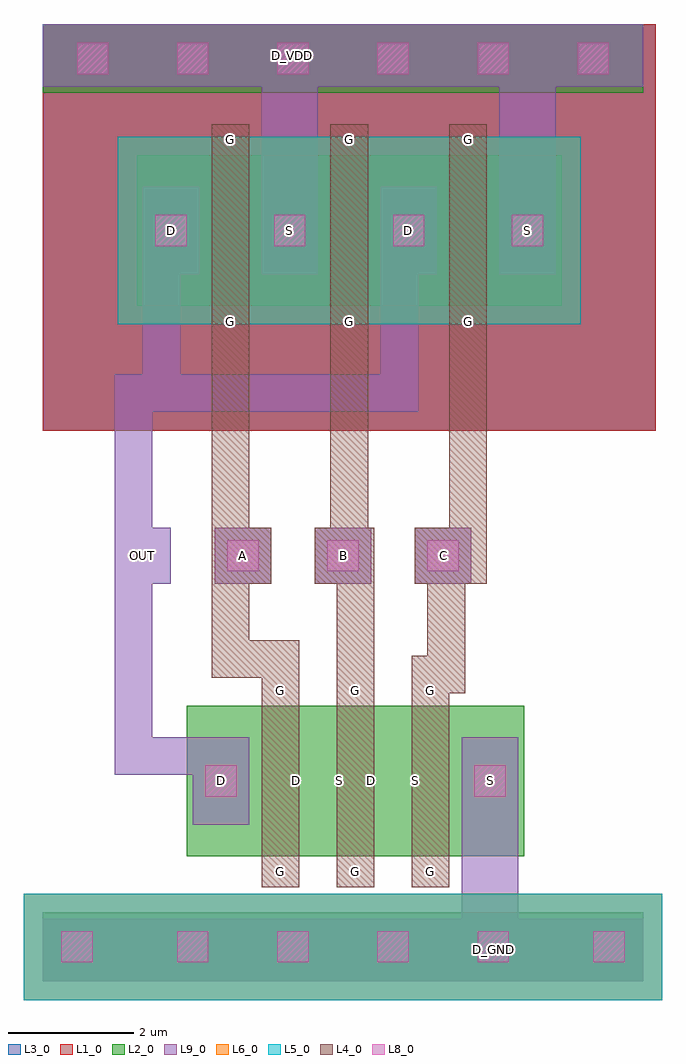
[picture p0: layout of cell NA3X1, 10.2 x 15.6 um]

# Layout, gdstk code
import gdstk
lib = gdstk.Library(unit=1e-6, precision=1e-09)
def R(c, l, rs):  # rectangles x0, y0, x1, y1
    for r in rs: c.add(gdstk.rectangle(r[:2], r[2:], *l))
def A(c, l, x, y, w, h, nx, ny, dx, dy):  # array of equal rectangles
    R(c, l, [(x+i*dx, y+j*dy, x+i*dx+w, y+j*dy+h) for i in range(nx) for j in range(ny)])
def P(c, l, *ps):  # polygons
    for p in ps: c.add(gdstk.Polygon(p, *l))
L1_0 = (1, 0)
L2_0 = (2, 0)
L3_0 = (3, 0)
L4_0 = (4, 0)
L5_0 = (5, 0)
L6_0 = (6, 0)
L8_0 = (8, 0)
L9_0 = (9, 0)

na3x1 = lib.new_cell('NA3X1')
A(na3x1, L1_0, 0, 8.8, 1.6, 6.5, 6, 1, 1.6, 0)
A(na3x1, L1_0, 0, 9.3, 6, 5.4, 3, 1, 1.9, 0)
R(na3x1, L1_0, [(9.6,8.8,9.8,15.3)])
A(na3x1, L2_0, 0, 0, 1.6, 1.1, 6, 2, 1.6, 14.2)
A(na3x1, L2_0, 3.4, 2, 0.8, 2.4, 3, 1, 1.2, 0)
A(na3x1, L2_0, 2.6, 10.8, 0.8, 2.4, 3, 1, 1.9, 0)
R(na3x1, L2_0, [(0,0,1.1,1.1), (8.5,0,9.6,1.1), (2.3,2,3.4,4.4), (3.5,2,4.6,4.4), (4.2,2,5.3,4.4), (4.7,2,5.8,4.4), (5.4,2,6.5,4.4), (6.6,2,7.7,4.4), (1.5,10.8,2.6,13.2), (3.4,10.8,4.5,13.2), (3.4,10.8,4.5,13.2), (5.3,10.8,6.4,13.2), (5.3,10.8,6.4,13.2), (7.2,10.8,8.3,13.2)])
A(na3x1, L3_0, 0, 8.8, 1.6, 6.5, 6, 1, 1.6, 0)
A(na3x1, L3_0, 0, 9.3, 6, 5.4, 3, 1, 1.9, 0)
R(na3x1, L3_0, [(9.6,8.8,9.8,15.3)])
A(na3x1, L4_0, 3.5, 1.5, 0.6, 3.4, 3, 1, 1.2, 0)
A(na3x1, L4_0, 3.5, 1.5, 0.6, 0.5, 3, 2, 1.2, 2.9)
A(na3x1, L4_0, 2.75, 6.35, 0.9, 0.9, 3, 1, 1.6, 0)
A(na3x1, L4_0, 2.7, 10.3, 0.6, 3.4, 3, 1, 1.9, 0)
A(na3x1, L4_0, 2.7, 10.3, 0.6, 0.5, 3, 2, 1.9, 2.9)
R(na3x1, L4_0, [(2.7,6.65,3.3,9.3), (6.5,6.65,7.1,9.3), (4.6,7.55,5.2,9.3)])
P(na3x1, L4_0, [(5.9,4.6),(6.75,4.6),(6.75,6.65),(6.15,6.65),(6.15,5.2),(5.9,5.2)])
A(na3x1, L5_0, 0, -0.3, 1.6, 1.7, 6, 1, 1.6, 0)
A(na3x1, L5_0, 1.2, 10.5, 3.6, 3, 3, 1, 1.9, 0)
R(na3x1, L5_0, [(-0.3,-0.3,1.4,1.4), (8.2,-0.3,9.9,1.4)])
A(na3x1, L6_0, 0, -0.3, 1.6, 1.7, 6, 1, 1.6, 0)
A(na3x1, L6_0, 1.2, 10.5, 3.6, 3, 3, 1, 1.9, 0)
R(na3x1, L6_0, [(-0.3,-0.3,1.4,1.4), (8.2,-0.3,9.9,1.4)])
A(na3x1, L8_0, 2.15, 0.3, 0.5, 0.5, 4, 1, 1.6, 0)
A(na3x1, L8_0, 2.95, 6.55, 0.5, 0.5, 3, 1, 1.6, 0)
A(na3x1, L8_0, 0.55, 14.5, 0.5, 0.5, 6, 1, 1.6, 0)
R(na3x1, L8_0, [(0.3,0.3,0.8,0.8), (8.8,0.3,9.3,0.8), (2.6,2.95,3.1,3.45), (6.9,2.95,7.4,3.45), (1.8,11.75,2.3,12.25), (3.7,11.75,4.2,12.25), (3.7,11.75,4.2,12.25), (5.6,11.75,6.1,12.25), (5.6,11.75,6.1,12.25), (7.5,11.75,8,12.25)])
A(na3x1, L9_0, 0, 0, 1.6, 1, 6, 2, 1.6, 14.3)
R(na3x1, L9_0, [(0,0,1.1,1), (8.5,0,9.6,1), (6.9,0.2,7.5,0.8), (6.7,0.95,7.6,2.5), (2.4,2.5,3.3,3.9), (6.7,2.5,7.6,3.9), (1.15,6.35,2.05,7.25), (2.75,6.35,3.65,7.25), (2.75,6.35,3.65,7.25), (4.35,6.35,5.25,7.25), (4.35,6.35,5.25,7.25), (5.95,6.35,6.85,7.25), (5.95,6.35,6.85,7.25), (1.6,9.4,2.2,11.9), (1.6,11.3,2.5,12.7), (3.5,11.3,4.4,12.7), (3.5,11.3,4.4,12.7), (5.4,11.3,6.3,12.7), (5.4,11.3,6.3,12.7), (7.3,11.3,8.2,12.7), (3.5,11.7,4.4,15.2), (3.7,14.5,4.3,15.1)])
P(na3x1, L9_0, [(7.3,11.7),(8.2,11.7),(8.2,14.3),(8.9,14.3),(8.9,15.2),(7.3,15.2)],
  [(1.6,9.1),(6,9.1),(6,11.9),(5.4,11.9),(5.4,9.7),(1.6,9.7)])
na3x1.add(gdstk.FlexPath([(1.45,6.9),(1.45,3.6),(2.4,3.6)], 0.6, ends="flush", simple_path=True, layer=9, datatype=0))  # L9_0
na3x1.add(gdstk.FlexPath([(7.45,14.75),(4.25,14.75)], 0.9, ends="flush", simple_path=True, layer=9, datatype=0))  # L9_0
na3x1.add(gdstk.FlexPath([(1.45,6.85),(1.45,9.7)], 0.6, ends="flush", simple_path=True, layer=9, datatype=0))  # L9_0
na3x1.add(gdstk.FlexPath([(3.8,4.6),(3.8,5.15),(3,5.15),(3,6.65)], 0.6, ends="flush", simple_path=True, layer=4, datatype=0))  # L4_0
na3x1.add(gdstk.FlexPath([(4.9,7.7),(4.9,6.55)], 0.6, ends="flush", simple_path=True, layer=4, datatype=0))  # L4_0
na3x1.add(gdstk.FlexPath([(5,4.7),(5,7.25)], 0.6, ends="flush", simple_path=True, layer=4, datatype=0))  # L4_0
na3x1.add(gdstk.FlexPath([(6.8,6.35),(6.8,6.75)], 0.6, ends="flush", simple_path=True, layer=4, datatype=0))  # L4_0
na3x1.add(gdstk.FlexPath([(3,9.3),(3,10.3)], 0.6, ends="flush", simple_path=True, layer=4, datatype=0))  # L4_0
na3x1.add(gdstk.FlexPath([(4.9,9.3),(4.9,10.3)], 0.6, ends="flush", simple_path=True, layer=4, datatype=0))  # L4_0
na3x1.add(gdstk.FlexPath([(6.8,9.3),(6.8,10.3)], 0.6, ends="flush", simple_path=True, layer=4, datatype=0))  # L4_0
na3x1.add(gdstk.Label('G', (3,10.552), layer=4, texttype=0))
na3x1.add(gdstk.Label('G', (3,13.452), layer=4, texttype=0))
na3x1.add(gdstk.Label('S', (3.951,12.001), layer=9, texttype=0))
na3x1.add(gdstk.Label('D', (2.051,12.001), layer=9, texttype=0))
na3x1.add(gdstk.Label('G', (4.9,10.552), layer=4, texttype=0))
na3x1.add(gdstk.Label('G', (4.9,13.452), layer=4, texttype=0))
na3x1.add(gdstk.Label('S', (3.949,12.001), layer=9, texttype=0))
na3x1.add(gdstk.Label('D', (5.849,12.001), layer=9, texttype=0))
na3x1.add(gdstk.Label('G', (3.8,1.752), layer=4, texttype=0))
na3x1.add(gdstk.Label('G', (3.8,4.652), layer=4, texttype=0))
na3x1.add(gdstk.Label('S', (4.751,3.201), layer=2, texttype=0))
na3x1.add(gdstk.Label('D', (2.851,3.201), layer=9, texttype=0))
na3x1.add(gdstk.Label('D', (4.051,3.201), layer=2, texttype=0))
na3x1.add(gdstk.Label('G', (5,1.752), layer=4, texttype=0))
na3x1.add(gdstk.Label('G', (5,4.652), layer=4, texttype=0))
na3x1.add(gdstk.Label('S', (5.951,3.201), layer=2, texttype=0))
na3x1.add(gdstk.Label('D', (5.251,3.201), layer=2, texttype=0))
na3x1.add(gdstk.Label('G', (6.2,1.752), layer=4, texttype=0))
na3x1.add(gdstk.Label('G', (6.2,4.652), layer=4, texttype=0))
na3x1.add(gdstk.Label('S', (7.151,3.201), layer=9, texttype=0))
na3x1.add(gdstk.Label('G', (6.8,10.552), layer=4, texttype=0))
na3x1.add(gdstk.Label('G', (6.8,13.452), layer=4, texttype=0))
na3x1.add(gdstk.Label('S', (7.751,12.001), layer=9, texttype=0))
na3x1.add(gdstk.Label('D', (5.851,12.001), layer=9, texttype=0))
na3x1.add(gdstk.Label('OUT', (1.6,6.8), layer=50, texttype=0))
na3x1.add(gdstk.Label('A', (3.2,6.8), layer=50, texttype=0))
na3x1.add(gdstk.Label('A', (3.2,6.8), layer=50, texttype=0))
na3x1.add(gdstk.Label('B', (4.8,6.8), layer=50, texttype=0))
na3x1.add(gdstk.Label('D_VDD', (4,14.8), layer=50, texttype=0))
na3x1.add(gdstk.Label('D_GND', (7.2,0.5), layer=50, texttype=0))
na3x1.add(gdstk.Label('C', (6.4,6.8), layer=50, texttype=0))
na3x1.add(gdstk.Label('A', (3.2,6.8), layer=8, texttype=0))
na3x1.add(gdstk.Label('B', (4.8,6.8), layer=58, texttype=0))
na3x1.add(gdstk.Label('A', (3.2,6.8), layer=58, texttype=0))

lib.write_gds('NA3X1.gds')
